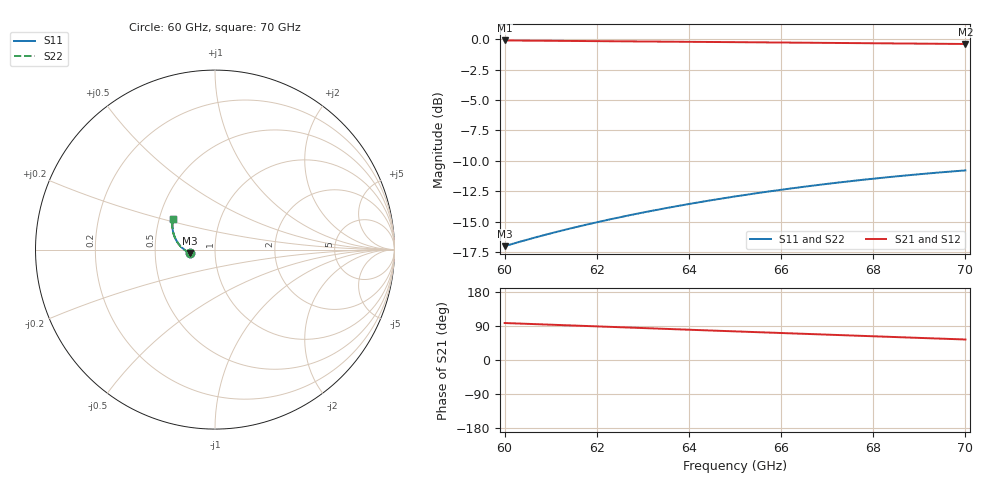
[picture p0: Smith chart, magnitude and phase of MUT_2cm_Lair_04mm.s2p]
! TOUCHSTONE file generated by CST MICROWAVE STUDIO
! Date and time: Sun Mar  3 12:09:21 2024
! Project name: material_angular.cst
! Parameters = {d=8.6; Yi=5; iiii=5; exis2=5; exis=5; X=5; Z=5; Y=2}
! Header version: 2018
! Port assignment regex: !\s*Touchstone port\s*([0-9]+)\s*=\s*(CST MWS port|CST DS port)\s*([0-9]+|Zmin|Zmax)\s*\(\"(.*)\"\)(\s*mode\s*([0-9]+))?.*
! Touchstone port assignment:
! Touchstone port 1 = CST MWS port 1 ("")
! Touchstone port 2 = CST MWS port 2 ("")
# GHz S MA R 376.7
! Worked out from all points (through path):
!   1001 points, 60 GHz to 70 GHz, reference 376.7 ohm
!   highest |S21| = -0.09 dB at 60 GHz (marker M1); lowest = -0.4 dB at 70 GHz (marker M2)
!   group delay of S21, straight-line fit = 12.1 ps
!   lowest |S11| = -17.0 dB at 60 GHz (marker M3), VSWR 1.33, Z = 284 - j10.7 ohm
!   |S11| at or under -10 dB: start of sweep to end of sweep
!   |S22| runs from -17.0 to -10.8 dB; largest |S21 - S12| = 0.00045
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60  0.1408 -172.5  0.99 97.6  0.9899 97.6  0.1408 -172.4
60.05  0.1417 -172.7  0.9899 97.4  0.9897 97.4  0.1417 -172.6
60.45  0.149 -174.5  0.9887 95.6  0.9886 95.6  0.149 -174.4
60.87  0.1566 -176.3  0.9875 93.7  0.9874 93.7  0.1566 -176.2
61.26  0.1636 -178.0  0.9863 92.0  0.9862 92.0  0.1636 -178.0
61.67  0.1708 -179.9  0.9851 90.1  0.985 90.1  0.1709 -179.8
62.09  0.1781 178.3  0.9839 88.3  0.9838 88.3  0.1782 178.3
62.5  0.1852 176.4  0.9826 86.5  0.9825 86.5  0.1852 176.5
62.92  0.1923 174.6  0.9813 84.6  0.9812 84.6  0.1923 174.7
63.34  0.1993 172.7  0.98 82.8  0.9798 82.8  0.1993 172.8
63.75  0.2059 170.9  0.9786 81.0  0.9785 81.0  0.206 171.0
64.16  0.2125 169.1  0.9772 79.2  0.9771 79.2  0.2125 169.2
64.58  0.2191 167.3  0.9758 77.3  0.9757 77.4  0.2191 167.4
65  0.2256 165.5  0.9743 75.5  0.9743 75.5  0.2256 165.6
65.41  0.2317 163.7  0.9728 73.7  0.9729 73.7  0.2318 163.8
65.83  0.2379 161.9  0.9713 71.9  0.9714 71.9  0.2379 161.9
66.67  0.2497 158.3  0.9683 68.3  0.9685 68.3  0.2498 158.3
67.49  0.2606 154.8  0.9655 64.8  0.9656 64.7  0.2606 154.8
68.34  0.271 151.1  0.9626 61.1  0.9627 61.1  0.2711 151.1
69.29  0.2817 147.1  0.9595 57.1  0.9596 57.1  0.2817 147.1
69.91  0.2879 144.5  0.9577 54.5  0.9575 54.5  0.288 144.5
70  0.2888 144.1  0.9574 54.1  0.9573 54.1  0.2888 144.1
